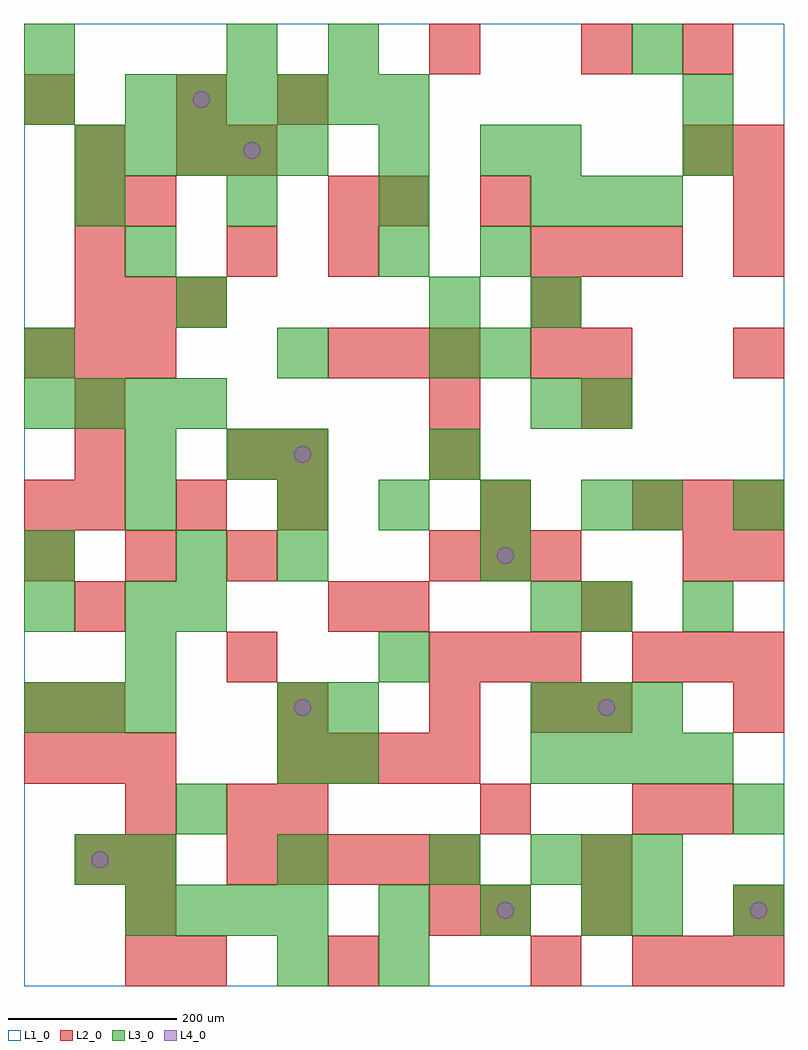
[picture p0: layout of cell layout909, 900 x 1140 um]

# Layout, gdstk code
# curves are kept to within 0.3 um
import gdstk
lib = gdstk.Library(unit=1e-6, precision=1e-09)
def R(c, l, rs):  # rectangles x0, y0, x1, y1
    for r in rs: c.add(gdstk.rectangle(r[:2], r[2:], *l))
def A(c, l, x, y, w, h, nx, ny, dx, dy):  # array of equal rectangles
    R(c, l, [(x+i*dx, y+j*dy, x+i*dx+w, y+j*dy+h) for i in range(nx) for j in range(ny)])
def P(c, l, *ps):  # polygons
    for p in ps: c.add(gdstk.Polygon(p, *l))
L1_0 = (1, 0)
L2_0 = (2, 0)
L3_0 = (3, 0)
L4_0 = (4, 0)

layout909 = lib.new_cell('layout909')
R(layout909, L1_0, [(0,0,900,1140)])
A(layout909, L2_0, 120, 0, 60, 60, 1, 4, 0, 60)
A(layout909, L2_0, 360, 0, 60, 60, 1, 3, 0, 420)
A(layout909, L2_0, 720, 0, 60, 60, 3, 2, 60, 360)
A(layout909, L2_0, 240, 120, 60, 60, 5, 1, 60, 0)
A(layout909, L2_0, 540, 180, 60, 60, 1, 3, 0, 360)
A(layout909, L2_0, 0, 240, 60, 60, 3, 2, 60, 480)
A(layout909, L2_0, 300, 240, 60, 60, 4, 1, 60, 0)
A(layout909, L2_0, 240, 360, 60, 60, 1, 3, 0, 240)
A(layout909, L2_0, 480, 360, 60, 60, 3, 2, 60, 120)
A(layout909, L2_0, 0, 480, 60, 60, 3, 1, 120, 0)
A(layout909, L2_0, 60, 540, 60, 60, 3, 1, 120, 0)
A(layout909, L2_0, 720, 540, 60, 60, 3, 1, 60, 0)
A(layout909, L2_0, 360, 720, 60, 60, 3, 1, 60, 0)
A(layout909, L2_0, 60, 780, 60, 60, 3, 1, 60, 0)
A(layout909, L2_0, 60, 840, 60, 60, 1, 3, 0, 60)
A(layout909, L2_0, 600, 840, 60, 60, 3, 1, 60, 0)
A(layout909, L2_0, 840, 840, 60, 60, 1, 3, 0, 60)
R(layout909, L2_0, [(180,0,240,60), (600,0,660,60), (480,60,540,120), (540,60,600,120), (660,60,720,120), (840,60,900,120), (60,120,120,180), (660,120,720,180), (240,180,300,240), (300,180,360,240), (720,180,780,240), (780,180,840,240), (0,300,60,360), (60,300,120,360), (300,300,360,360), (480,300,540,360), (600,300,660,360), (660,300,720,360), (840,300,900,360), (60,420,120,480), (420,420,480,480), (660,420,720,480), (780,480,840,540), (840,480,900,540), (0,540,60,600), (60,600,120,660), (300,600,360,660), (480,600,540,660), (60,660,120,720), (480,660,540,720), (660,660,720,720), (600,720,660,780), (660,720,720,780), (840,720,900,780), (600,780,660,840), (120,900,180,960), (360,900,420,960), (420,900,480,960), (180,960,240,1020), (240,960,300,1020), (780,960,840,1020), (0,1020,60,1080), (180,1020,240,1080), (300,1020,360,1080), (480,1080,540,1140), (660,1080,720,1140), (780,1080,840,1140)])
A(layout909, L3_0, 120, 60, 60, 60, 4, 1, 60, 0)
A(layout909, L3_0, 420, 60, 60, 60, 3, 1, 120, 0)
A(layout909, L3_0, 120, 120, 60, 60, 3, 1, 180, 0)
A(layout909, L3_0, 600, 120, 60, 60, 3, 2, 60, 180)
A(layout909, L3_0, 600, 240, 60, 60, 4, 1, 60, 0)
A(layout909, L3_0, 0, 300, 60, 60, 3, 1, 60, 0)
A(layout909, L3_0, 660, 420, 60, 60, 1, 3, 0, 240)
A(layout909, L3_0, 300, 480, 60, 60, 1, 3, 0, 120)
A(layout909, L3_0, 300, 540, 60, 60, 4, 1, 120, 0)
A(layout909, L3_0, 0, 660, 60, 60, 4, 1, 60, 0)
A(layout909, L3_0, 540, 720, 60, 60, 1, 3, 0, 120)
A(layout909, L3_0, 60, 900, 60, 60, 4, 1, 180, 0)
A(layout909, L3_0, 60, 960, 60, 60, 5, 1, 60, 0)
A(layout909, L3_0, 120, 1020, 60, 60, 6, 1, 60, 0)
R(layout909, L3_0, [(300,0,360,60), (420,0,480,60), (720,60,780,120), (840,60,900,120), (60,120,120,180), (180,180,240,240), (840,180,900,240), (300,240,360,300), (360,240,420,300), (300,300,360,360), (360,300,420,360), (120,360,180,420), (420,360,480,420), (0,420,60,480), (120,420,180,480), (180,420,240,480), (600,420,660,480), (780,420,840,480), (0,480,60,540), (180,480,240,540), (540,480,600,540), (120,540,180,600), (720,540,780,600), (840,540,900,600), (120,600,180,660), (240,600,300,660), (480,600,540,660), (600,660,660,720), (0,720,60,780), (480,720,540,780), (180,780,240,840), (480,780,540,840), (600,780,660,840), (120,840,180,900), (420,840,480,900), (720,900,780,960), (420,960,480,1020), (600,960,660,1020), (780,960,840,1020), (0,1020,60,1080), (780,1020,840,1080), (0,1080,60,1140), (240,1080,300,1140), (360,1080,420,1140), (720,1080,780,1140)])
P(layout909, L4_0, [(100,150),(99.239,153.827),(97.071,157.071),(93.827,159.239),(90,160),(86.173,159.239),(82.929,157.071),(80.761,153.827),(80,150),(80.761,146.173),(82.929,142.929),(86.173,140.761),(90,140),(93.827,140.761),(97.071,142.929),(99.239,146.173)],
  [(220,1050),(219.239,1053.827),(217.071,1057.071),(213.827,1059.239),(210,1060),(206.173,1059.239),(202.929,1057.071),(200.761,1053.827),(200,1050),(200.761,1046.173),(202.929,1042.929),(206.173,1040.761),(210,1040),(213.827,1040.761),(217.071,1042.929),(219.239,1046.173)],
  [(280,990),(279.239,993.827),(277.071,997.071),(273.827,999.239),(270,1000),(266.173,999.239),(262.929,997.071),(260.761,993.827),(260,990),(260.761,986.173),(262.929,982.929),(266.173,980.761),(270,980),(273.827,980.761),(277.071,982.929),(279.239,986.173)],
  [(340,330),(339.239,333.827),(337.071,337.071),(333.827,339.239),(330,340),(326.173,339.239),(322.929,337.071),(320.761,333.827),(320,330),(320.761,326.173),(322.929,322.929),(326.173,320.761),(330,320),(333.827,320.761),(337.071,322.929),(339.239,326.173)],
  [(340,630),(339.239,633.827),(337.071,637.071),(333.827,639.239),(330,640),(326.173,639.239),(322.929,637.071),(320.761,633.827),(320,630),(320.761,626.173),(322.929,622.929),(326.173,620.761),(330,620),(333.827,620.761),(337.071,622.929),(339.239,626.173)],
  [(580,90),(579.239,93.827),(577.071,97.071),(573.827,99.239),(570,100),(566.173,99.239),(562.929,97.071),(560.761,93.827),(560,90),(560.761,86.173),(562.929,82.929),(566.173,80.761),(570,80),(573.827,80.761),(577.071,82.929),(579.239,86.173)],
  [(580,510),(579.239,513.827),(577.071,517.071),(573.827,519.239),(570,520),(566.173,519.239),(562.929,517.071),(560.761,513.827),(560,510),(560.761,506.173),(562.929,502.929),(566.173,500.761),(570,500),(573.827,500.761),(577.071,502.929),(579.239,506.173)],
  [(700,330),(699.239,333.827),(697.071,337.071),(693.827,339.239),(690,340),(686.173,339.239),(682.929,337.071),(680.761,333.827),(680,330),(680.761,326.173),(682.929,322.929),(686.173,320.761),(690,320),(693.827,320.761),(697.071,322.929),(699.239,326.173)],
  [(880,90),(879.239,93.827),(877.071,97.071),(873.827,99.239),(870,100),(866.173,99.239),(862.929,97.071),(860.761,93.827),(860,90),(860.761,86.173),(862.929,82.929),(866.173,80.761),(870,80),(873.827,80.761),(877.071,82.929),(879.239,86.173)])

lib.write_gds('layout909.gds')
